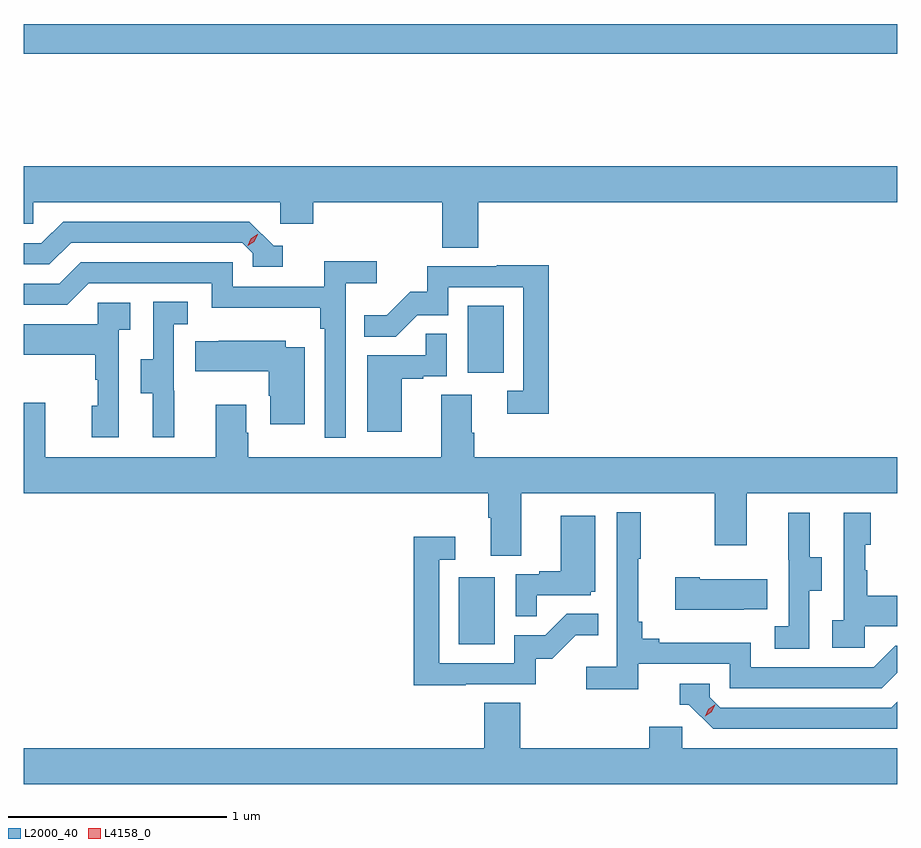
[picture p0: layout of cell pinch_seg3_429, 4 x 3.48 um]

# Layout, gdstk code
import gdstk
lib = gdstk.Library(unit=1e-6, precision=1e-09)
def R(c, l, rs):  # rectangles x0, y0, x1, y1
    for r in rs: c.add(gdstk.rectangle(r[:2], r[2:], *l))
def P(c, l, *ps):  # polygons
    for p in ps: c.add(gdstk.Polygon(p, *l))
L2000_40 = (2000, 40)
L4158_0 = (4158, 0)

pinch_seg3_429 = lib.new_cell('pinch_seg3_429')
R(pinch_seg3_429, L2000_40, [(891.926,704.22,892.09,704.527), (891.968,705.462,892.132,705.769), (889.934,706.924,893.934,707.06)])
P(pinch_seg3_429, L2000_40, [(892.016,706.244),(893.934,706.244),(893.934,706.408),(889.934,706.408),(889.934,706.146),(889.977,706.146),(889.977,706.244),(891.108,706.244),(891.108,706.146),(891.26,706.146),(891.26,706.244),(891.851,706.244),(891.851,706.036),(892.016,706.036)],
  [(891.121,706.044),(891.078,706.044),(890.967,706.155),(890.114,706.155),(890.015,706.056),(889.934,706.056),(889.934,705.96),(890.052,705.96),(890.151,706.059),(890.934,706.059),(890.982,706.011),(890.982,705.948),(891.121,705.948)],
  [(891.408,705.872),(891.55,705.872),(891.55,705.974),(891.311,705.974),(891.311,705.858),(890.892,705.858),(890.892,705.969),(890.195,705.969),(890.096,705.87),(889.934,705.87),(889.934,705.774),(890.133,705.774),(890.232,705.873),(890.796,705.873),(890.796,705.761),(891.292,705.761),(891.292,705.665),(891.312,705.665),(891.312,705.165),(891.408,705.165)],
  [(892.337,705.956),(892.099,705.956),(892.099,705.951),(891.781,705.951),(891.781,705.834),(891.704,705.834),(891.597,705.727),(891.493,705.727),(891.493,705.628),(891.637,705.628),(891.735,705.726),(891.879,705.726),(891.879,705.855),(892.221,705.855),(892.221,705.381),(892.149,705.381),(892.149,705.276),(892.337,705.276)],
  [(890.624,705.381),(890.622,705.381),(890.622,705.685),(890.686,705.685),(890.686,705.788),(890.526,705.788),(890.526,705.525),(890.471,705.525),(890.471,705.37),(890.525,705.37),(890.525,705.168),(890.624,705.168)],
  [(890.37,705.659),(890.422,705.659),(890.422,705.783),(890.274,705.783),(890.274,705.685),(889.934,705.685),(889.934,705.545),(890.262,705.545),(890.262,705.431),(890.272,705.431),(890.272,705.312),(890.246,705.312),(890.246,705.168),(890.37,705.168)],
  [(891.664,705.435),(891.764,705.435),(891.764,705.447),(891.87,705.447),(891.87,705.641),(891.775,705.641),(891.775,705.543),(891.506,705.543),(891.506,705.192),(891.664,705.192)],
  [(891.22,705.58),(891.133,705.58),(891.133,705.61),(890.827,705.61),(890.827,705.607),(890.719,705.607),(890.719,705.47),(891.055,705.47),(891.055,705.357),(891.062,705.357),(891.062,705.228),(891.22,705.228)],
  [(892.213,704.912),(893.098,704.912),(893.098,704.673),(893.245,704.673),(893.245,704.912),(893.934,704.912),(893.934,705.076),(891.998,705.076),(891.998,705.188),(891.985,705.188),(891.985,705.362),(891.845,705.362),(891.845,705.076),(890.961,705.076),(890.961,705.188),(890.953,705.188),(890.953,705.316),(890.813,705.316),(890.813,705.076),(890.033,705.076),(890.033,705.325),(889.935,705.325),(889.935,705.076),(889.934,705.076),(889.934,704.912),(892.061,704.912),(892.061,704.8),(892.073,704.8),(892.073,704.626),(892.213,704.626)],
  [(892.748,704.13),(893.166,704.13),(893.166,704.019),(893.863,704.019),(893.934,704.09),(893.934,704.214),(893.925,704.214),(893.826,704.115),(893.262,704.115),(893.262,704.227),(892.843,704.227),(892.843,704.246),(892.766,704.246),(892.766,704.323),(892.747,704.323),(892.747,704.611),(892.759,704.611),(892.759,704.824),(892.65,704.824),(892.65,704.116),(892.509,704.116),(892.509,704.014),(892.748,704.014)],
  [(893.532,704.464),(893.587,704.464),(893.587,704.619),(893.533,704.619),(893.533,704.821),(893.435,704.821),(893.435,704.607),(893.436,704.607),(893.436,704.303),(893.373,704.303),(893.373,704.2),(893.532,704.2)],
  [(893.784,704.303),(893.934,704.303),(893.934,704.443),(893.797,704.443),(893.797,704.558),(893.787,704.558),(893.787,704.676),(893.812,704.676),(893.812,704.821),(893.688,704.821),(893.688,704.33),(893.637,704.33),(893.637,704.205),(893.784,704.205)],
  [(892.283,704.445),(892.53,704.445),(892.53,704.46),(892.552,704.46),(892.552,704.809),(892.394,704.809),(892.394,704.554),(892.295,704.554),(892.295,704.541),(892.188,704.541),(892.188,704.347),(892.283,704.347)],
  [(891.959,704.037),(892.278,704.037),(892.278,704.154),(892.354,704.154),(892.461,704.261),(892.565,704.261),(892.565,704.36),(892.421,704.36),(892.323,704.262),(892.179,704.262),(892.179,704.133),(891.837,704.133),(891.837,704.607),(891.91,704.607),(891.91,704.713),(891.721,704.713),(891.721,704.032),(891.959,704.032)],
  [(893.231,704.381),(893.339,704.381),(893.339,704.518),(893.029,704.518),(893.029,704.526),(892.917,704.526),(892.917,704.378),(893.231,704.378)],
  [(893.934,703.956),(893.907,703.929),(893.124,703.929),(893.076,703.977),(893.076,704.04),(892.937,704.04),(892.937,703.944),(892.98,703.944),(893.091,703.833),(893.934,703.833)],
  [(893.934,703.744),(892.95,703.744),(892.95,703.842),(892.799,703.842),(892.799,703.744),(892.208,703.744),(892.208,703.952),(892.043,703.952),(892.043,703.744),(889.934,703.744),(889.934,703.58),(893.934,703.58)])
P(pinch_seg3_429, L4158_0, [(890.959,706.044),(890.959,706.045),(890.974,706.077),(891.004,706.097),(891.005,706.097),(891.005,706.097),(890.989,706.064),(890.959,706.044)],
  [(893.054,703.89),(893.054,703.891),(893.069,703.923),(893.099,703.943),(893.1,703.943),(893.1,703.943),(893.084,703.91),(893.054,703.89)])

lib.write_gds('pinch_seg3_429.gds')
